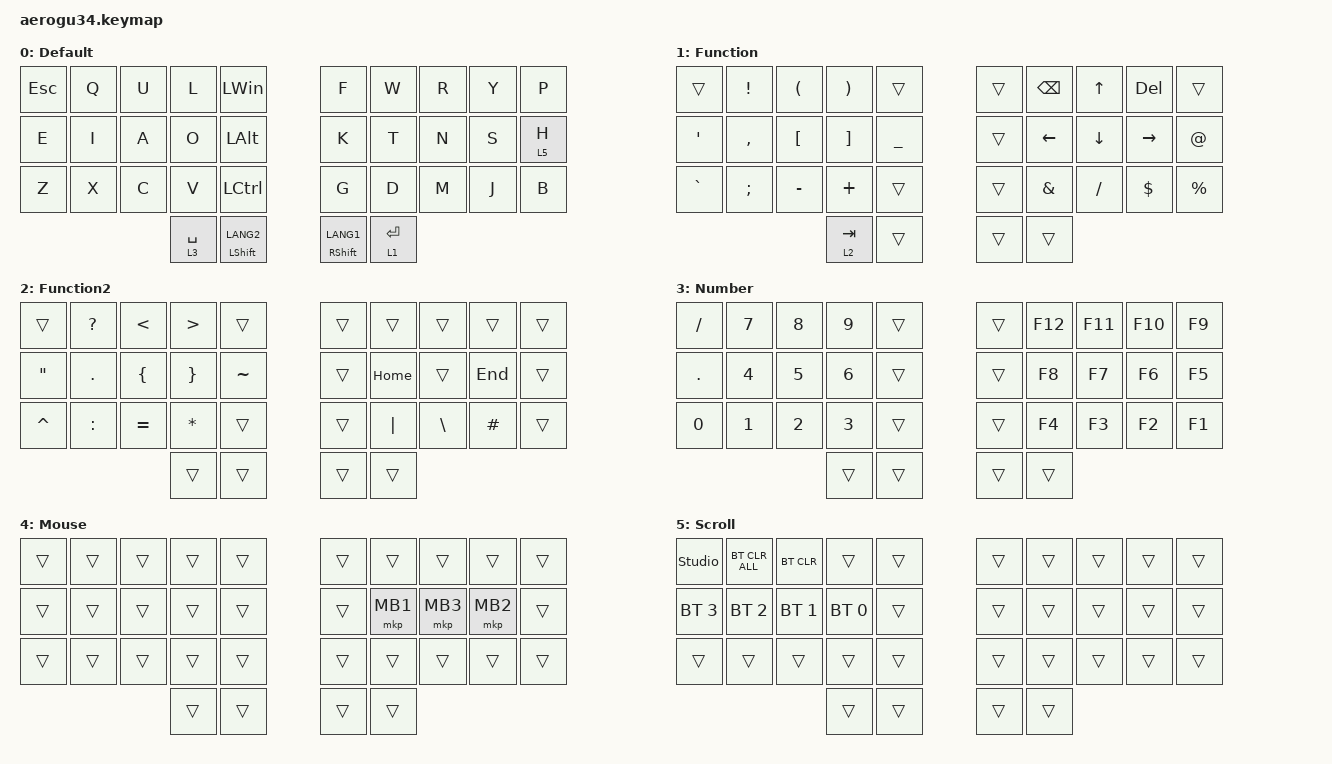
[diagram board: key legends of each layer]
#define ZMK_POINTING_DEFAULT_SCRL_VAL 200

#include <dt-bindings/zmk/mouse.h>
#include <behaviors.dtsi>
#include <dt-bindings/zmk/bt.h>
#include <dt-bindings/zmk/keys.h>
#include <dt-bindings/zmk/pointing.h>

// OS設定を日本語キーボードのまま使用するための変換定義

#define JP_DQUOTE       AT                // "
#define JP_AMPERSAND    CARET             // &
#define JP_QUOTE        AMPERSAND         // '
#define JP_EQUAL        UNDER             // =
#define JP_CARET        EQUAL             // ^
#define JP_YEN          0x89              // ¥
#define JP_PLUS         COLON             // +
#define JP_TILDE        PLUS              // ~
#define JP_PIPE         LS(0x89)          // |
#define JP_AT           LEFT_BRACKET      // @
#define JP_COLON        SINGLE_QUOTE      // :
#define JP_ASTERISK     DOUBLE_QUOTES     // *
#define JP_BACKQUOTE    LEFT_BRACE        // `
#define JP_UNDERSCORE   LS(0x87)          // _
#define JP_LBRACKET     RIGHT_BRACKET     // [
#define JP_RBRACKET     BACKSLASH         // ]
#define JP_LPAREN       ASTERISK          // (
#define JP_RPAREN       LEFT_PARENTHESIS  // )
#define JP_LBRACE       RIGHT_BRACE       // {
#define JP_RBRACE       PIPE              // }
#define JP_KANA         LANGUAGE_1        // かな
#define JP_EISU         LANGUAGE_2        // 英数
#define JP_HANZEN       GRAVE             // 半角/全角

&mt {
    tapping-term-ms = <300>;
    flavor = "balanced";
};

&lt { quick-tap-ms = <300>; };

/ {
    combos { compatible = "zmk,combos"; };

    keymap {
        compatible = "zmk,keymap";

        default_layer {
            display-name = "Default";
            bindings = <
&kp ESC      &kp Q             &kp U  &kp L  &kp LEFT_WIN  &kp F            &kp W        &kp R  &kp Y  &kp P
&kp E        &kp I             &kp A  &kp O  &kp LEFT_ALT  &kp K            &kp T        &kp N  &kp S  &lt 5 H
&kp Z        &kp X             &kp C  &kp V  &kp LCTRL     &kp G            &kp D        &kp M  &kp J  &kp B
&lt 3 SPACE  &mt LSHIFT LANG2                              &mt RSHFT LANG1  &lt 1 ENTER
            >;
        };

        function_layer {
            display-name = "Function";
            bindings = <
&trans     &kp EXCL   &kp LPAR   &kp RPAR  &trans     &trans  &kp BACKSPACE   &kp UP_ARROW    &kp DEL          &trans
&kp SQT    &kp COMMA  &kp LBKT   &kp RBKT  &kp UNDER  &trans  &kp LEFT_ARROW  &kp DOWN_ARROW  &kp RIGHT_ARROW  &kp AT
&kp GRAVE  &kp SEMI   &kp MINUS  &kp PLUS  &trans     &trans  &kp AMPERSAND   &kp FSLH        &kp DLLR         &kp PERCENT
&lt 2 TAB  &trans                                     &trans  &trans
            >;
        };

        function_layer2 {
            display-name = "Function2";
            bindings = <
&trans     &kp QMARK  &kp LT     &kp GT     &trans     &trans  &trans    &trans         &trans    &trans
&kp DQT    &kp DOT    &kp LBRC   &kp RBRC   &kp TILDE  &trans  &kp HOME  &trans         &kp END   &trans
&kp CARET  &kp COLON  &kp EQUAL  &kp ASTRK  &trans     &trans  &kp PIPE  &kp BACKSLASH  &kp HASH  &trans
&trans     &trans                                      &trans  &trans
            >;
        };

        number_layer {
            display-name = "Number";
            bindings = <
&kp SLASH     &kp N7        &kp N8        &kp N9        &trans  &trans  &kp F12  &kp F11  &kp F10  &kp F9
&kp DOT       &kp NUMBER_4  &kp N5        &kp NUMBER_6  &trans  &trans  &kp F8   &kp F7   &kp F6   &kp F5
&kp NUMBER_0  &kp NUMBER_1  &kp NUMBER_2  &kp NUMBER_3  &trans  &trans  &kp F4   &kp F3   &kp F2   &kp F1
&trans        &trans                                            &trans  &trans
            >;
        };

        mouse_layer {
            display-name = "Mouse";
            bindings = <
&trans  &trans  &trans  &trans  &trans  &trans  &trans    &trans    &trans    &trans
&trans  &trans  &trans  &trans  &trans  &trans  &mkp MB1  &mkp MB3  &mkp MB2  &trans
&trans  &trans  &trans  &trans  &trans  &trans  &trans    &trans    &trans    &trans
&trans  &trans                          &trans  &trans
            >;
        };

        /* Scroll must be above the auto-enabled Mouse layer so AML never
         * masks trackball scrolling while this layer is held. */

        scroll_layer {
            display-name = "Scroll";
            bindings = <
&studio_unlock  &bt BT_CLR_ALL  &bt BT_CLR    &trans        &trans  &trans  &trans  &trans  &trans  &trans
&bt BT_SEL 3    &bt BT_SEL 2    &bt BT_SEL 1  &bt BT_SEL 0  &trans  &trans  &trans  &trans  &trans  &trans
&trans          &trans          &trans        &trans        &trans  &trans  &trans  &trans  &trans  &trans
&trans          &trans                                              &trans  &trans
            >;
        };
    };
};
